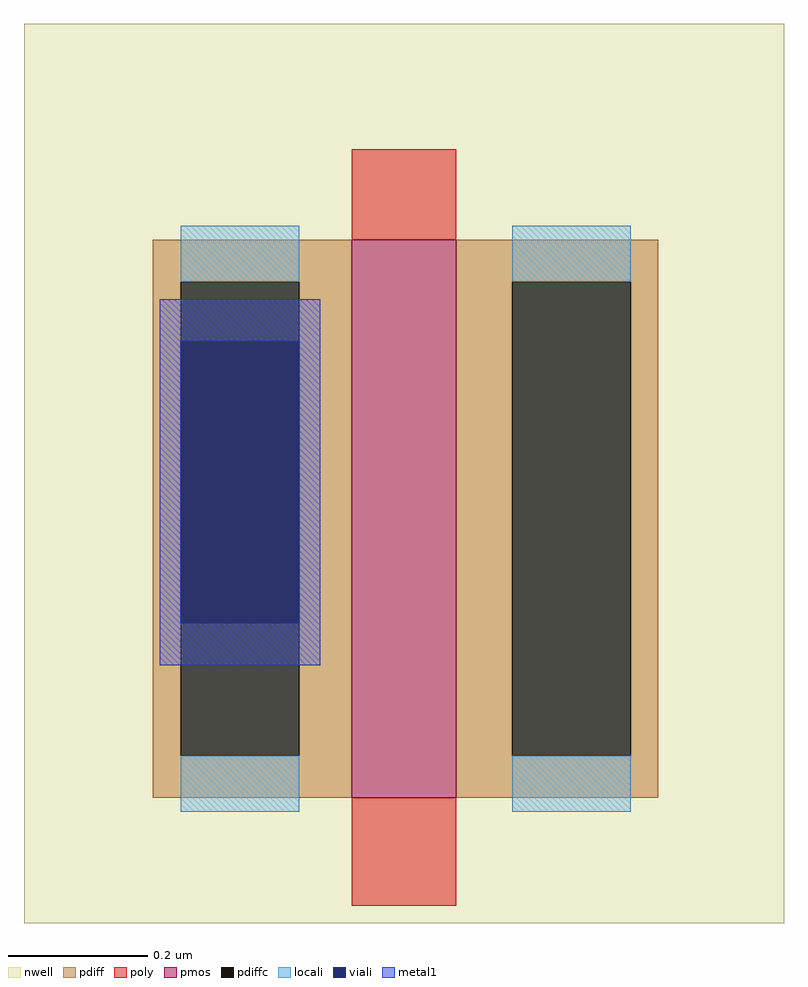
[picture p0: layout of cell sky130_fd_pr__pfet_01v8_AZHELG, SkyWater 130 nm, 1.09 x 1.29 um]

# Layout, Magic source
magic
tech sky130A
magscale 1 2
<< nwell >>
rect -109 -58 109 200
<< pmos >>
rect -15 -22 15 138
<< pdiff >>
rect -72 126 -15 138
rect -72 -10 -64 126
rect -30 -10 -15 126
rect -72 -22 -15 -10
rect 15 126 73 138
rect 15 -10 31 126
rect 65 -10 73 126
rect 15 -22 73 -10
<< pdiffc >>
rect -64 -10 -30 126
rect 31 -10 65 126
<< poly >>
rect -15 138 15 164
rect -15 -53 15 -22
<< locali >>
rect -64 126 -30 142
rect -64 -26 -30 -10
rect 31 126 65 142
rect 31 -26 65 -10
<< viali >>
rect -64 28 -30 109
<< metal1 >>
rect -70 109 -24 121
rect -70 28 -64 109
rect -30 28 -24 109
rect -70 16 -24 28
<< properties >>
string gencell sky130_fd_pr__pfet_01v8
string library sky130
string parameters w 0.58 l 0.15 m 1 nf 1 diffcov 100 polycov 100 guard 0 glc 0 grc 0 gtc 0 gbc 0 tbcov 100 rlcov 100 topc 0 botc 1 poverlap 0 doverlap 1 lmin 0.15 wmin 0.42 compatible {sky130_fd_pr__pfet_01v8  sky130_fd_pr__pfet_01v8_lvt sky130_fd_pr__pfet_01v8_hvt  sky130_fd_pr__pfet_g5v0d10v5} full_metal 0 viasrc 40 viadrn -40 viagate 100 viagb 0 viagr 0 viagl 0 viagt 80
<< end >>
